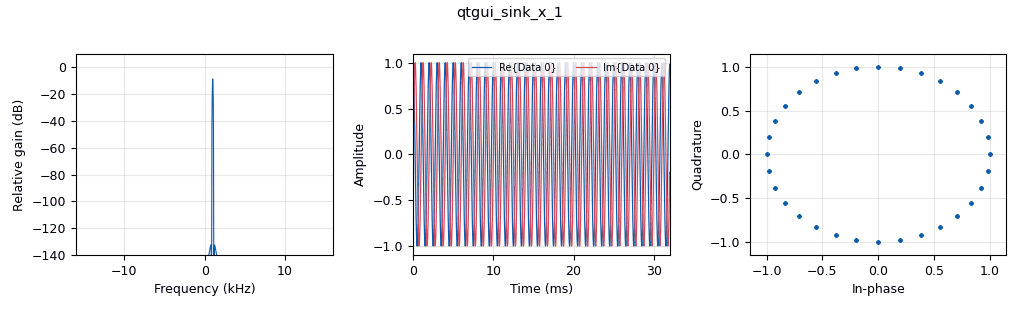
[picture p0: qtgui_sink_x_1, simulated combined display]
<?xml version='1.0' encoding='utf-8'?>
<?grc format='1' created='3.7.10'?>
<flow_graph>
<block>
<key>options</key>
<param><key>id</key><value>top_block</value></param>
<param><key>generate_options</key><value>qt_gui</value></param>
</block>
<block>
<key>variable</key>
<param><key>id</key><value>samp_rate</value></param>
<param><key>value</key><value>32000</value></param>
</block>
<block>
<key>analog_sig_source_x</key>
<param><key>id</key><value>analog_sig_source_x_0</value></param>
<param><key>amp</key><value>1</value></param>
<param><key>freq</key><value>1000</value></param>
<param><key>offset</key><value>0</value></param>
<param><key>type</key><value>complex</value></param>
<param><key>samp_rate</key><value>samp_rate</value></param>
<param><key>waveform</key><value>analog.GR_COS_WAVE</value></param>
</block>
<block>
<key>eewls_freq_selector</key>
<param><key>id</key><value>eewls_freq_selector_0</value></param>
<param><key>base_freq</key><value>0</value></param>
<param><key>freq_1</key><value>2000</value></param>
<param><key>freq_2</key><value>-1</value></param>
<param><key>freq_3</key><value>-1</value></param>
<param><key>num_output</key><value>1</value></param>
<param><key>samp_rate</key><value>samp_rate</value></param>
<param><key>use_fixed_freq</key><value>1</value></param>
</block>
<block>
<key>qtgui_sink_x</key>
<param><key>id</key><value>qtgui_sink_x_0</value></param>
<param><key>bw</key><value>samp_rate</value></param>
<param><key>fc</key><value>0</value></param>
<param><key>freqchangevar</key><value>None</value></param>
<param><key>fftsize</key><value>1024</value></param>
<param><key>showports</key><value>True</value></param>
<param><key>type</key><value>complex</value></param>
<param><key>wintype</key><value>firdes.WIN_BLACKMAN_hARRIS</value></param>
</block>
<block>
<key>qtgui_sink_x</key>
<param><key>id</key><value>qtgui_sink_x_1</value></param>
<param><key>bw</key><value>samp_rate</value></param>
<param><key>fc</key><value>0</value></param>
<param><key>freqchangevar</key><value>None</value></param>
<param><key>fftsize</key><value>1024</value></param>
<param><key>showports</key><value>True</value></param>
<param><key>type</key><value>complex</value></param>
<param><key>wintype</key><value>firdes.WIN_BLACKMAN_hARRIS</value></param>
</block>
<connection><source_block_id>analog_sig_source_x_0</source_block_id><sink_block_id>eewls_freq_selector_0</sink_block_id><source_key>0</source_key><sink_key>0</sink_key></connection>
<connection><source_block_id>analog_sig_source_x_0</source_block_id><sink_block_id>qtgui_sink_x_1</sink_block_id><source_key>0</source_key><sink_key>0</sink_key></connection>
<connection><source_block_id>eewls_freq_selector_0</source_block_id><sink_block_id>qtgui_sink_x_0</sink_block_id><source_key>0</source_key><sink_key>0</sink_key></connection>
</flow_graph>
